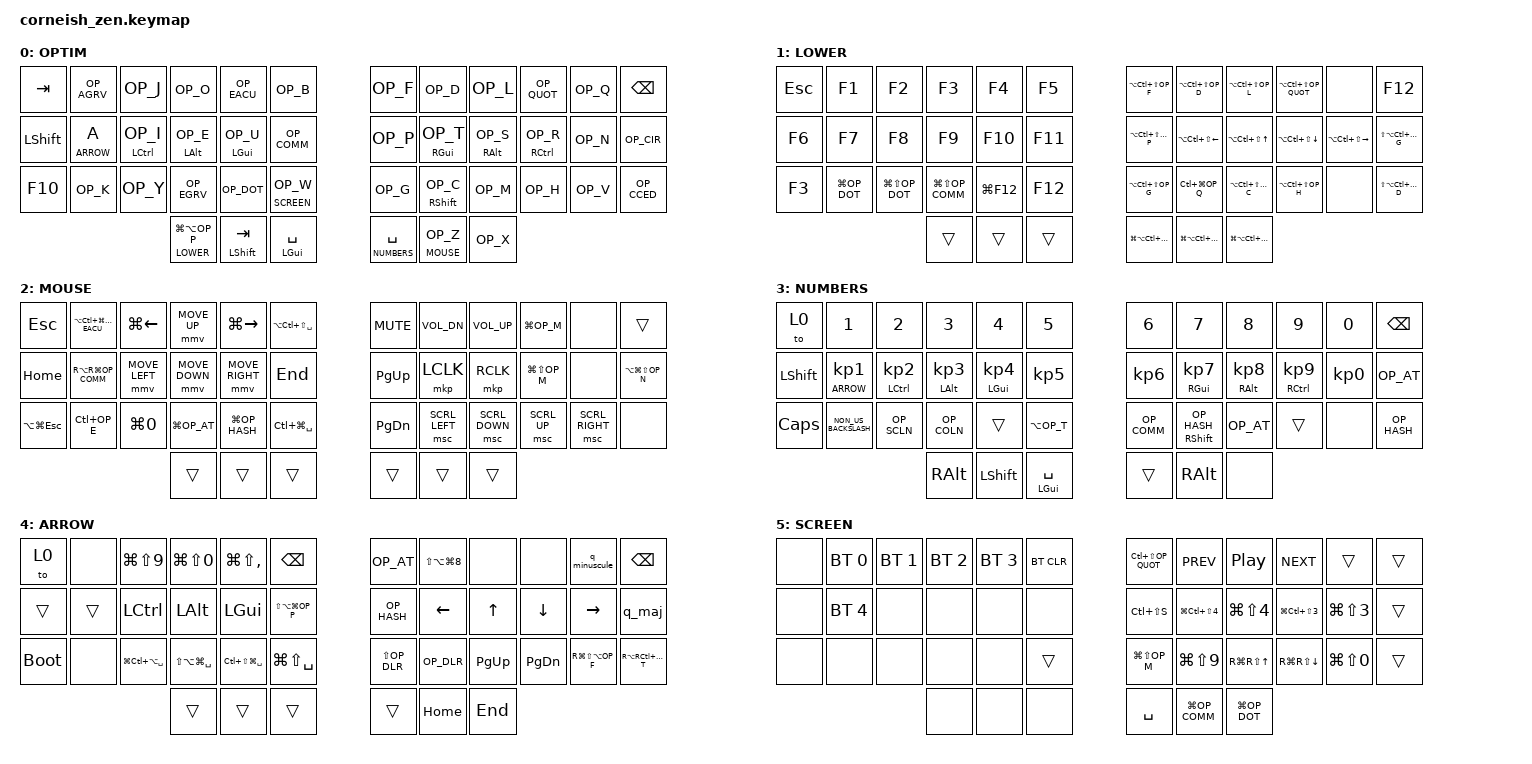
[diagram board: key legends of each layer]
/*
*
* Copyright (c) 2021 lowprokb.ca
* SPDX-License-Identifier: MIT
*
*/

#include <behaviors.dtsi>
#include <dt-bindings/zmk/keys.h>
#include <dt-bindings/zmk/bt.h>
#include "mouse.dtsi"
#include "keymap_optimot.h"

/ {
  chosen {
    zmk,matrix_transform = &default_transform;
    //zmk,matrix_transform = &five_column_transform;
  };
};

//APPLICATIONS SHORCUTS
    //Omniplan
    #define OMNIPLIDENTR LG(LS(N0))
    #define OMNIPLIDENTL LG(LS(N9))
    //1Password
    #define ONEPWDQUICK LS(LA(LG(OP_P)))
    //Raycast
    #define CLIPB_HIST LG(LA(OP_P))
    #define RAYCPNAME  LG(OP_DOT)
    #define RAYCPPHONE LG(LS(OP_DOT))
    #define RAYCPMAIL  LG(LS(OP_COMM))
    //Outlook
    #define OUTLKARCHMAIL LC(OP_E)
    #define OUTLKFILEMAIL LG(LS(OP_M))
    #define OUTLKHIDEWINDOW LG(OP_M)
    #define OUTLKNEWMAINWINDOW LA(LG(LS(OP_N)))

#define OPTIM   0
#define LOWER   1
#define MOUSE   2
#define NUMBERS 3
#define ARROW   4
#define SCREEN  5

#include "combos.dtsi" // This include **has** to be made **after** the layers' define, else it won't compile.


/*                KEY POSITIONS

  ╭────────────────────────╮ ╭────────────────────────╮
  │  0   1   2   3   4   5 │ │  6   7   8   9  10  11 │
  │ 12  13  14  15  16  17 │ │ 18  19  20  21  22  23 │
  │ 24  25  26  27  28  29 │ │ 30  31  32  33  34  35 │
  ╰──────────╮  36  37  38 │ │ 39  40  41 ╭───────────╯
             ╰─────────────╯ ╰────────────╯            */


&kscan0 { debounce-press-ms = <17>;
          debounce-release-ms = <17>;
        };

/ {
    macros {
        q_minuscule: q_minuscule {
            label = "ZM_q_minuscul";
            compatible = "zmk,behavior-macro";
            wait-ms = <20>;
            tap-ms = <20>;
            #binding-cells = <0>;
            bindings
                = <&macro_tap &kp CAPS>
                , <&macro_press &kp LSHFT>
                , <&macro_tap &kp OP_Q>
                , <&macro_release &kp LSHFT>
                , <&macro_tap &kp CAPS>
                ;
        };
        q_maj: q_maj {
            label = "ZM_q_maj";
            compatible = "zmk,behavior-macro";
            wait-ms = <20>;
            tap-ms = <20>;
            #binding-cells = <0>;
            bindings
                = <&macro_tap &kp CAPS>
                , <&macro_tap &kp OP_Q>
                , <&macro_tap &kp CAPS>
                ;
        };
    };
};

//Existing Behavior modifications :
    &mt {
    hold-while-undecided; //faster mod, used for CMD on left thumb key.
    };

// Key position groups
#define KEYS_L 0 1 2 3 4 5 12 13 14 15 16 17 24 25 26 27 28 29
#define KEYS_R 6 7 8 9 10 11 18 19 20 21 22 23 30 31 32 33 34 35   
#define KEYS_L_SPECIAL 0
#define THUMBS_L 36 37 38
#define THUMB_L_SPECIAL 37
#define THUMBS_R 39 40 41

/*                KEY POSITIONS

  ╭────────────────────────╮ ╭────────────────────────╮
  │  0   1   2   3   4   5 │ │  6   7   8   9  10  11 │
  │ 12  13  14  15  16  17 │ │ 18  19  20  21  22  23 │
  │ 24  25  26  27  28  29 │ │ 30  31  32  33  34  35 │
  ╰───────────╮ 36  37  38 │ │ 39  40  41 ╭───────────╯
              ╰────────────╯ ╰────────────╯            */

/ {
    behaviors {
        hml: homerow_mods_l {
            compatible = "zmk,behavior-hold-tap";
            label = "ALPHA_MT_L";
            #binding-cells = <2>;
            tapping-term-ms = <250>;
            quick-tap-ms = <150>;
            flavor = "tap-preferred";
            bindings = <&kp>, <&kp>;
            //global-quick-tap-ms = <150>;
            require-prior-idle-ms = <100>;
            hold-trigger-key-positions = <KEYS_R KEYS_L_SPECIAL THUMBS_R THUMB_L_SPECIAL>;
            hold-trigger-on-release;
        };
        hmr: homerow_mods_r {
            compatible = "zmk,behavior-hold-tap";
            label = "ALPHA_MT_R";
            #binding-cells = <2>;
            tapping-term-ms = <250>;
            quick-tap-ms = <150>;
            flavor = "tap-preferred";
            bindings = <&kp>, <&kp>;
            //global-quick-tap-ms = <150>;
            require-prior-idle-ms = <125>;
            hold-trigger-key-positions = <KEYS_L THUMBS_L>;
            hold-trigger-on-release;
        };
        hsl: homerow_shift_l {
            compatible = "zmk,behavior-hold-tap";
            label = "ALPHA_SFT_L";
            #binding-cells = <2>;
            tapping-term-ms = <200>;
            quick-tap-ms = <150>;
            flavor = "hold-preferred";
            bindings = <&kp>, <&kp>;
            hold-trigger-key-positions = <KEYS_R KEYS_L THUMBS_R>;
            //hold-trigger-on-release;
        };
        hsr: homerow_shift_r {
            compatible = "zmk,behavior-hold-tap";
            label = "ALPHA_SFT_R";
            #binding-cells = <2>;
            tapping-term-ms = <200>;
            quick-tap-ms = <100>;
            flavor = "tap-preferred";
            bindings = <&kp>, <&kp>;
            hold-trigger-key-positions = <KEYS_L THUMBS_L>;
        };   
        hlr: homerow_layer_r {
            compatible = "zmk,behavior-hold-tap";
            label = "HOMEROW_LAYER_R";
            #binding-cells = <2>;
            tapping-term-ms = <200>;
            quick-tap-ms = <150>;
            flavor = "tap-preferred";
            bindings = <&mo>, <&kp>;
            require-prior-idle-ms = <125>;
            hold-trigger-key-positions = <KEYS_L THUMBS_L>;
            hold-trigger-on-release;
        };
        hll: homerow_layer_l {
            compatible = "zmk,behavior-hold-tap";
            label = "HOMEROW_LAYER_L";
            #binding-cells = <2>;
            tapping-term-ms = <200>; // switched from 300 to 200, getting too much "af" instead of "@" (layer not triggered)
            quick-tap-ms = <150>; //trying to see what gives with 0 instead of 150 => not kept.
            flavor = "tap-preferred";
            bindings = <&mo>, <&kp>;
            require-prior-idle-ms = <125>;
            hold-trigger-key-positions = <KEYS_R THUMBS_L THUMBS_R>;
            hold-trigger-on-release;
        };
        //cwl: caps_word_layer {
        //    compatible = "zmk,behavior-hold-tap";
        //    label = "CAPS WORD LAYER";
        //    #binding-cells = <2>;
        //    tapping-term-ms = <260>;
        //    //quick-tap-ms = <0>;
        //    flavor = "tap-preferred";
        //    bindings = <&mo>, <&caps_word>;
        //};
        //td0: tap_dance_0 {
        //    compatible = "zmk,behavior-tap-dance";
        //    label = "TAP_DANCE_0";
        //    #binding-cells = <0>;
        //    tapping-term-ms = <150>;
        //    bindings = <&kp OP_X>, <&kp OP_CCED>, <&kp LC(LG(OP_Q))>;
        //};
    }; 


/*                KEY POSITIONS

  ╭────────────────────────╮ ╭────────────────────────╮
  │  0   1   2   3   4   5 │ │  6   7   8   9  10  11 │
  │ 12  13  14  15  16  17 │ │ 18  19  20  21  22  23 │
  │ 24  25  26  27  28  29 │ │ 30  31  32  33  34  35 │
  ╰───────────╮ 36  37  38 │ │ 39  40  41 ╭───────────╯
              ╰────────────╯ ╰────────────╯            */

    keymap {
        compatible = "zmk,keymap";

        default_layer {
        display-name = "OPTIM";
// ------------------- --------------------------------------------------------------------------------------------------
// |  TAB  |  À  |  J  |    O   |   É   |   B     |                   |  ^      |  V     |  D    |  L   |   J   | BKSPC |
// | LSHFT |  A  |  U  |    I   |   E   |   ,     |                   |  C      |  T     |  S    |  R   |   N   |   M   |
// |MISSCTRL|  À  |  Y  |    X   |   .   |   K     |                   |  '      |  Q     |  G    |  H   |   F   |   Ç   |
//                     | LOWER/ | TAB / | CMD/ENTER |                   | NUMBER/ | MOUSE/ | RC+SPC|
//                     | CLPBD H| LSHFT |                             | SPACE   |  W     | 
            bindings = <
&kp TAB   &kp OP_AGRV  &kp OP_J        &kp OP_O             &kp OP_EACU    &kp OP_B                 &kp OP_F           &kp OP_D        &kp OP_L        &kp OP_QUOT     &kp OP_Q &kp BSPC
&kp LSHFT &hll ARROW A &hml LCTRL OP_I &hml LALT OP_E       &hml LGUI OP_U &kp OP_COMM              &kp OP_P           &hmr RGUI OP_T  &hmr RALT OP_S  &hmr RCTRL OP_R &kp OP_N &kp OP_CIR
&kp F10   &kp OP_K     &kp OP_Y        &kp OP_EGRV          &kp OP_DOT     &hll SCREEN OP_W         &kp OP_G           &hsr RSHFT OP_C &kp OP_M        &kp OP_H        &kp OP_V &kp OP_CCED
                                       &lt LOWER CLIPB_HIST &hsl LSHFT TAB &mt LGUI SPACE           &hlr NUMBERS SPACE &hlr MOUSE OP_Z &kp OP_X

            //code pour utiler Caps_Word : &cwl MOUSE 0 (pas adapté à Optimot au 04/07/2022; les keycodes Qwerty sont pris en compte, et même si on peut
            // faire en sorte que certains keycodes ne désactivent pas Caps, je ne vois pas pour le moment comment faire pour que des keycodes
            // qwerty de lettres et qui sont par exemple , ou . en optimot puissent désactiver CAPS au lieu de le laisser actif).
            // Update : PeteJohansson m'a recommande d'ouvrir une issue sur le github avec mes propositions. À faire éventuellement quand j'aurai du temps.
            >;
        };

        lower_layer {
        display-name = "LOWER";
// ----------------------------------------------------------------------------------------------------------------
// | ESC   |  F1 |  F2 |  F3  |  F4      |  F5  |                   |   6  |   7   |   8   |   9  |    0  |  F12  |
// |   F6  |  F7 |  F8 |  F9  |  F10     |  F11 |                   |  ^   |  &    |  *    |  (   |   )   |   |   |
// |       |  =  |  -  |  +   |DoNotDist |  F12 |                   |  [   |  ]    |  ;    |  :   |   \   |       |
//               |     |      |          |      |                   |      |       |       |      |
            bindings = <                       
&kp ESC &kp F1        &kp F2         &kp F3        &kp F4      &kp F5               &kp LA(LC(LS(OP_F)))     &kp LA(LC(LS(OP_D)))     &kp LA(LC(LS(OP_L)))      &kp LA(LC(LS(OP_QUOT))) &none                 &kp F12
&kp F6  &kp F7        &kp F8         &kp F9        &kp F10     &kp F11              &kp LA(LC(LS(LG(OP_P)))) &kp LA(LC(LS(LEFT)))     &kp LA(LC(LS(UP)))        &kp LA(LC(LS(DOWN)))    &kp LA(LC(LS(RIGHT))) &kp LS(LA(LC(LG(OP_G))))
&kp F3  &kp RAYCPNAME &kp RAYCPPHONE &kp RAYCPMAIL &kp LG(F12) &kp F12              &kp LA(LC(LS(OP_G)))     &kp LC(LG(OP_Q))         &kp LA(LC(LS(LG(OP_C))))  &kp LA(LC(LS(OP_H)))    &none                 &kp LS(LA(LC(LG(OP_D))))
                                     &trans        &trans      &trans               &kp LG(LA(LC(LS(LEFT)))) &kp LG(LA(LC(LS(DOWN)))) &kp LG(LA(LC(LS(RIGHT)))) 
            >;
        };

        mouse_layer {
        display-name = "MOUSE";
// -----------------------------------------------------------------------------------------------------------------------------------------------------------
// |                     |NewOmniFocTaskFromTxt| HOME       | MouseUP      |  END       |Spotlight|             |      |      |       |      |       |       |
// |NewOmniFocTaskFromTxt| INS                 | Mouseleft  | MouseDwn     | MouseRght  | ??   |                | PGUP |      |   ^   |      |       | OutlkNewMainWindow|
// |AppsForceQuit        | FileMailOutlook     |WkfyNormSize|  WkfySmall   | WkfyBigger |Emojis|                |      |      |       |      |       |       |
//                                                          |              |            |      |                |      |      |       |
            bindings = <    
&kp ESC         &kp LA(LC(LG(LS(OP_EACU)))) &kp LG(LEFT)   &mmv MOVE_UP    &kp LG(RIGHT)   &kp LA(LC(LS(SPACE)))               &kp C_MUTE &kp C_VOL_DN   &kp C_VOL_UP   &kp LG(OP_M)     &none           &trans
&kp HOME        &kp RA(RG(OP_COMM))         &mmv MOVE_LEFT &mmv MOVE_DOWN  &mmv MOVE_RIGHT &kp END                             &kp PG_UP  &mkp LCLK      &mkp RCLK      &kp LG(LS(OP_M)) &none           &kp LA(LG(LS(OP_N)))
&kp LA(LG(ESC)) &kp OUTLKARCHMAIL           &kp LG(N0)     &kp LG(OP_AT)   &kp LG(OP_HASH) &kp LC(LG(SPACE))                   &kp PG_DN  &msc SCRL_LEFT &msc SCRL_DOWN &msc SCRL_UP     &msc SCRL_RIGHT &none
                                                           &trans          &trans          &trans                              &trans     &trans         &trans  
            >;
        };

        numbers_layer {
        display-name = "NUMBERS";
// ------------------------------------------------------------------------------------------------------------
// | TAB   |  «° |  °» |  "   |  -   |  +      |                   |  *   |  /    |  =    |  (   |   )   |  BSPC |
// | LSHFT |   1 |   2 |   3  |   4  |   5     |                   |   6  |   7   |   8   |   9  |    0  |   @/_ |
// | F10   | ??ê?? |  ;  |  :   |  .   |   &     |                   |  ,   |   No  |   No  |   H   |   No  |   #/% |
//                     | LCTRL| LALT |CMD/space|                   | togg | RCTRL | RALT  |
            bindings = <            
&to 0     &kp N1               &kp N2           &kp N3          &kp N4          &kp N5                   &kp N6      &kp N7             &kp N8          &kp N9           &kp N0    &kp BSPC
&kp LSHFT &hll ARROW KP_N1     &hml LCTRL KP_N2 &hml LALT KP_N3 &hml LGUI KP_N4 &kp KP_N5                &kp KP_N6   &hmr RGUI KP_N7    &hmr RALT KP_N8 &hmr RCTRL KP_N9 &kp KP_N0 &kp OP_AT
&kp CAPS  &kp NON_US_BACKSLASH &kp OP_SCLN      &kp OP_COLN     &trans          &kp LA(OP_T)             &kp OP_COMM &hsr RSHFT OP_HASH &kp OP_AT       &trans           &none     &kp OP_HASH
                                                &kp RALT        &kp LSHFT       &mt LGUI SPACE           &trans      &kp RALT           &none
            >;
        };

        arrow_layer {
        display-name = "ARROW";
// ----------------------------------------------------------------------------------------------------------------------------------------------------------------
// | TO 0  | none| LeftDesk | RightDesk    | WkfyMirror  |  BSPC         |                   |  @   |  Rycst-MenuCmd  |  none  |  none   |  q    |  BSPC    |
// | Trans |Trans|          |              |             |  1PassWD  |                   |  #   |  Left           |  UP    |  Down   | Right |  None    |
// | RESET  |     | HookCpyLk  | HookCpyMDLk  | HookToLink |   Hook     |                    |  ??ê?? |  $/€             |WkfyMvUP|WkfyMvDwn|TxTXSearch|TxTXDisable|
//                          |              | LSHFT / Home |  trans       |                   |  SPC | END |WkfyNext|
            bindings = <
&to 0       &none  &kp OMNIPLIDENTL      &kp OMNIPLIDENTR      &kp  LG(LS(COMMA))    &kp BSPC                      &kp OP_AT      &kp LS(LA(LG(N8))) &none     &none     &q_minuscule         &kp BSPC
&trans      &trans &kp LCTRL             &kp LALT              &kp  LGUI             &kp ONEPWDQUICK               &kp OP_HASH    &kp LEFT           &kp UP    &kp DOWN  &kp RIGHT            &q_maj
&bootloader &none  &kp LG(LC(LA(SPACE))) &kp LS(LA(LG(SPACE))) &kp LC(LS(LG(SPACE))) &kp LG(LS(SPACE))             &kp LS(OP_DLR) &kp OP_DLR         &kp PG_UP &kp PG_DN &kp RG(LS(LA(OP_F))) &kp RA(RC(RG(OP_T)))
                                         &trans                &trans                &trans                        &trans         &kp HOME           &kp END
            >;
        };

         screen_layer {
         display-name = "SCREEN";
// TODO: Some binds are waiting for shifted keycode support.
// ------------------------------------------------------------------------------------------------------------
// |       |  F1 |  F2 |  F3  |  F4  |  F5  |                   |  F6  |  F7   |  F8   |  F9  |  F10  |  F11  |
// | `     |   1 |   2 |   3  |   4  |   5  |                   |   6  |   7   |   8   |   9  |    0  |  F12  |
// |       |  !  |  @  |  #   |  $   |  %   |                   |  ^   |  &    |  *    |  (   |   )   |   |   |
// |       |  =  |  -  |  +   |  {   |  }   |        |  |       |  [   |  ]    |  ;    |  :   |   \   |       |
//               |     |      |      |      |        |  |       |      |       |       |      |
            bindings = <
&none &bt BT_SEL 0 &bt BT_SEL 1 &bt BT_SEL 2 &bt BT_SEL 3 &bt BT_CLR                   &kp LC(LS(OP_QUOT)) &kp C_PREV         &kp C_PP       &kp C_NEXT         &trans         &trans
&none &bt BT_SEL 4 &none        &none        &none        &none                        &kp LC(LS(S))       &kp LG(LC(LS(N4))) &kp LG(LS(N4)) &kp LG(LC(LS(N3))) &kp LG(LS(N3)) &trans
&none &none        &none        &none        &none        &trans                       &kp LG(LS(OP_M))    &kp LG(LS(N9))     &kp RG(RS(UP)) &kp RG(RS(DOWN))   &kp LG(LS(N0)) &trans
                                &none        &none        &none                        &kp SPACE           &kp LG(OP_COMM)    &kp LG(OP_DOT)  
            >;
        };
   };
};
